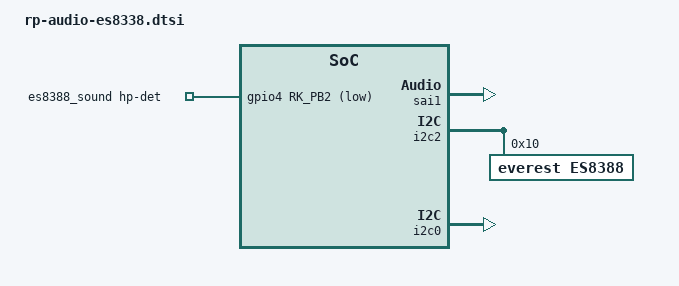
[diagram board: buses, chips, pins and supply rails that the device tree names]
/{
    es8388_sound: es8388-sound {
        status = "okay";
        compatible = "rockchip,multicodecs-card";
        rockchip,card-name = "rockchip-es8388";
        hp-det-gpio = <&gpio4 RK_PB2 GPIO_ACTIVE_LOW>;
        // hp-con-gpio = <&gpio3 RK_PD6 GPIO_ACTIVE_HIGH>;
        rockchip,format = "i2s";
        rockchip,mclk-fs = <256>;
        rockchip,cpu = <&sai1>;
        rockchip,codec = <&es8388>;
        rockchip,audio-routing =
            "Headphone", "LOUT1",
            "Headphone", "ROUT1",
            "Speaker", "LOUT2",
            "Speaker", "ROUT2",
            "Headphone", "Headphone Power",
            "Headphone", "Headphone Power",
            "Speaker", "Speaker Power",
            "Speaker", "Speaker Power",
            "LINPUT1", "Main Mic",
            "LINPUT2", "Main Mic",
            "RINPUT1", "Headset Mic",
            "RINPUT2", "Headset Mic";
        pinctrl-names = "default";
        pinctrl-0 = <&hp_det>;
        play-pause-key {
            label = "playpause";
            linux,code = <KEY_PLAYPAUSE>;
            press-threshold-microvolt = <2000>;
        };
    };    
};

&sai1 {
	status = "okay";
        pinctrl-names = "default";
        pinctrl-0 = <&rm_io9_sai1_sclk
                     &rm_io10_sai1_lrck
                     &rm_io11_sai1_sdi
                     &rm_io12_sai1_sdo0>;
};

&i2c2 {
    status = "okay";
    es8388: es8388@10 {
        status = "okay";
        #sound-dai-cells = <0>;
        compatible = "everest,es8388", "everest,es8323";
        reg = <0x10>;
        clocks = <&mclkout_sai1>;
        clock-names = "mclk";
        assigned-clocks = <&mclkout_sai1>;
        assigned-clock-rates = <12288000>;
        pinctrl-names = "default";
        pinctrl-0 = <&rm_io8_sai1_mclk>;
    };
};

&i2c0 {
    status = "okay";
    /delete-node/ es8388@11;
};

&pinctrl {
    headphone {
        hp_det: hp-det {
            rockchip,pins = <4 RK_PB2 RK_FUNC_GPIO &pcfg_pull_up>;
        };
    };    
};
